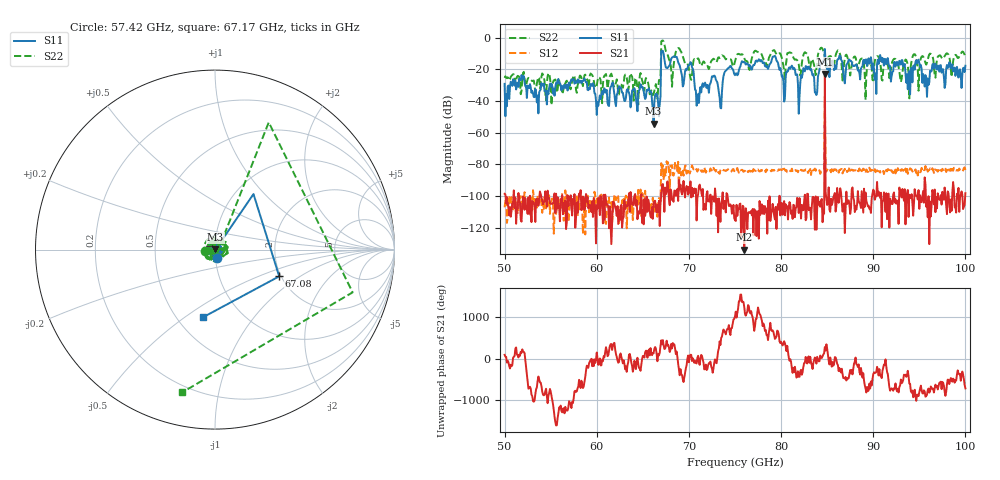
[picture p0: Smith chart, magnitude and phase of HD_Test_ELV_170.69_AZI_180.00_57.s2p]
! 11/25/2026 9:30:55 AM
! C:\ANRITSUVNA\TEMP\TEMP.S2P
! CHANNEL.1
! TR.MEASUREMENT
! RAW.DATA
# HZ S RI R 50.0
! FREQ.HZ  S11RE  S11IM  S21RE  S21IM  S12RE  S12IM  S22RE  S22IM
!; PortSelection: Port_12
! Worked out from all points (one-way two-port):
!   601 points, 50 GHz to 100 GHz, reference 50 ohm
!   highest |S21| = -23.00 dB at 84.75 GHz (marker M1); lowest = -134.0 dB at 76 GHz (marker M2)
!   lowest |S11| = -54.3 dB at 66.17 GHz (marker M3), VSWR 1.00, Z = 50.1 + j0.146 ohm
!   |S11| at or under -10 dB: start of sweep to 67 GHz; 67.24 GHz to 84.72 GHz (17.48 GHz wide, 23 % of centre); 84.78 GHz to end of sweep
!   |S22| runs from -42.6 to -1.8 dB; largest |S21 - S12| = 0.06
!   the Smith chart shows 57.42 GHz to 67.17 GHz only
!   S11 on the Smith chart (normalised r, x): 57.42 GHz: 1.02, -0.10; 67.08 GHz: 1.95, -0.69; 67.17 GHz: 0.67, -0.59
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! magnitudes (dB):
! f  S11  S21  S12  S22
! 50 GHz  -29.2  -98.7  -107.2  -25.4
! 57.42 GHz  -26.3  -101.9  -106.3  -25.3
! 58.42 GHz  -27.2  -106.2  -105.1  -29.0
! 60.17 GHz  -43.1  -101.4  -103.7  -24.9
! 61.67 GHz  -28.7  -116.5  -116.6  -24.5
! 66.17 GHz  -54.3  -104.4  -106.7  -35.4
! 66.67 GHz  -42.0  -110.1  -105.9  -32.2
! 67.08 GHz  -8.2  -93.2  -84.3  -1.9
! 67.17 GHz  -8.3  -92.5  -80.7  -1.8
! 70.17 GHz  -15.4  -90.8  -84.4  -25.7
! 70.92 GHz  -40.8  -101.3  -84.6  -13.3
! 75 GHz  -23.7  -115.3  -83.4  -15.0
! 76 GHz  -15.3  -134.0  -84.4  -12.9
! 83.42 GHz  -23.8  -100.7  -84.3  -13.6
! 83.83 GHz  -36.2  -121.4  -83.4  -19.5
! 84.75 GHz  -7.1  -23.0  -37.2  -11.8
! 91.67 GHz  -16.6  -98.5  -83.4  -20.4
! 93.75 GHz  -32.6  -96.2  -86.1  -17.2
! 94.83 GHz  -15.0  -102.3  -87.1  -20.3
! 95.83 GHz  -37.4  -103.7  -83.1  -15.9
! 96.58 GHz  -19.5  -105.3  -85.5  -16.9
! 100 GHz  -17.8  -98.3  -83.6  -12.1
